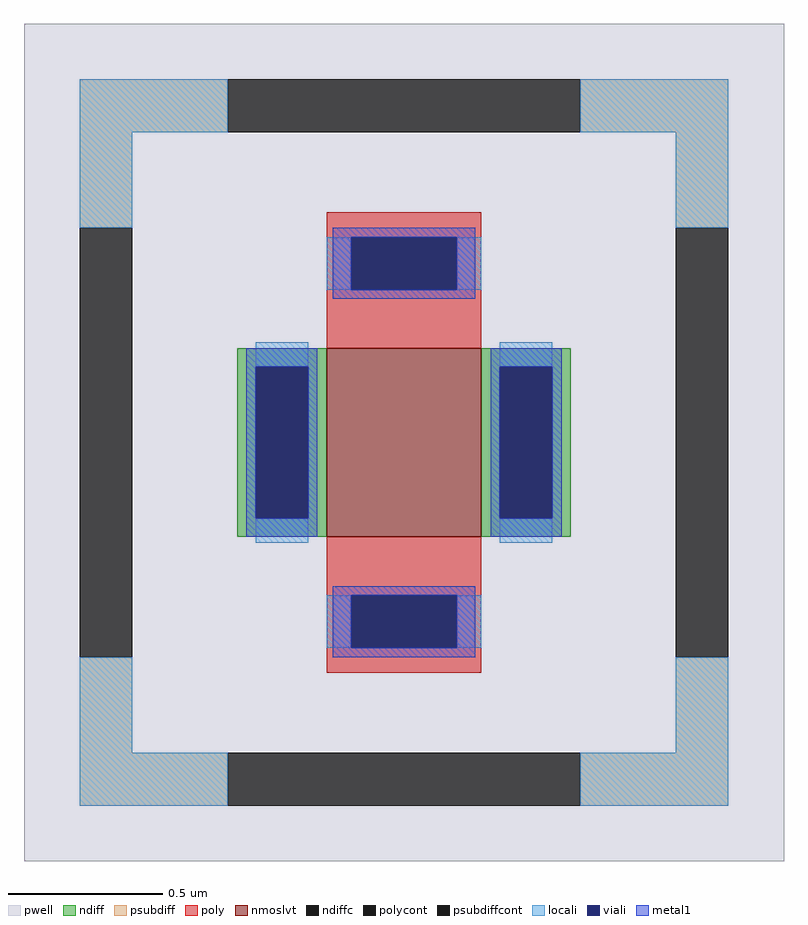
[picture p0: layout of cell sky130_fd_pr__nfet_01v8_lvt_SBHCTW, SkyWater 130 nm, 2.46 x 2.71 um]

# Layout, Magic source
magic
tech sky130A
magscale 1 2
<< pwell >>
rect -246 -271 246 271
<< nmoslvt >>
rect -50 -61 50 61
<< ndiff >>
rect -108 49 -50 61
rect -108 -49 -96 49
rect -62 -49 -50 49
rect -108 -61 -50 -49
rect 50 49 108 61
rect 50 -49 62 49
rect 96 -49 108 49
rect 50 -61 108 -49
<< ndiffc >>
rect -96 -49 -62 49
rect 62 -49 96 49
<< psubdiff >>
rect -210 201 -114 235
rect 114 201 210 235
rect -210 139 -176 201
rect 176 139 210 201
rect -210 -201 -176 -139
rect 176 -201 210 -139
rect -210 -235 -114 -201
rect 114 -235 210 -201
<< psubdiffcont >>
rect -114 201 114 235
rect -210 -139 -176 139
rect 176 -139 210 139
rect -114 -235 114 -201
<< poly >>
rect -50 133 50 149
rect -50 99 -34 133
rect 34 99 50 133
rect -50 61 50 99
rect -50 -99 50 -61
rect -50 -133 -34 -99
rect 34 -133 50 -99
rect -50 -149 50 -133
<< polycont >>
rect -34 99 34 133
rect -34 -133 34 -99
<< locali >>
rect -210 201 -114 235
rect 114 201 210 235
rect -210 139 -176 201
rect 176 139 210 201
rect -50 99 -34 133
rect 34 99 50 133
rect -96 49 -62 65
rect -96 -65 -62 -49
rect 62 49 96 65
rect 62 -65 96 -49
rect -50 -133 -34 -99
rect 34 -133 50 -99
rect -210 -201 -176 -139
rect 176 -201 210 -139
rect -210 -235 -114 -201
rect 114 -235 210 -201
<< viali >>
rect -34 99 34 133
rect -96 -49 -62 49
rect 62 -49 96 49
rect -34 -133 34 -99
<< metal1 >>
rect -46 133 46 139
rect -46 99 -34 133
rect 34 99 46 133
rect -46 93 46 99
rect -102 49 -56 61
rect -102 -49 -96 49
rect -62 -49 -56 49
rect -102 -61 -56 -49
rect 56 49 102 61
rect 56 -49 62 49
rect 96 -49 102 49
rect 56 -61 102 -49
rect -46 -99 46 -93
rect -46 -133 -34 -99
rect 34 -133 46 -99
rect -46 -139 46 -133
<< properties >>
string FIXED_BBOX -193 -218 193 218
string gencell sky130_fd_pr__nfet_01v8_lvt
string library sky130
string parameters w 0.61 l 0.5 m 1 nf 1 diffcov 100 polycov 100 guard 1 glc 1 grc 1 gtc 1 gbc 1 tbcov 100 rlcov 100 topc 1 botc 1 poverlap 0 doverlap 1 lmin 0.15 wmin 0.42 compatible {sky130_fd_pr__nfet_01v8 sky130_fd_pr__nfet_01v8_lvt  sky130_fd_bs_flash__special_sonosfet_star  sky130_fd_pr__nfet_g5v0d10v5 sky130_fd_pr__nfet_05v0_nvt  sky130_fd_pr__nfet_03v3_nvt} full_metal 1 viasrc 100 viadrn 100 viagate 100 viagb 0 viagr 0 viagl 0 viagt 0
<< end >>
